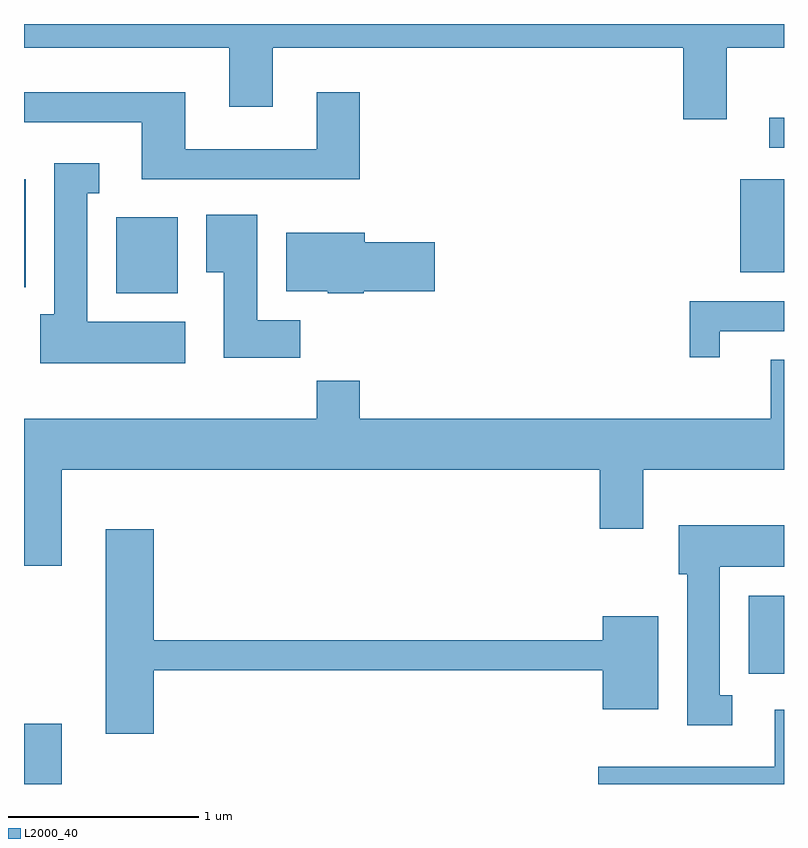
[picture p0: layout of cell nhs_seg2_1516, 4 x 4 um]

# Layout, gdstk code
import gdstk
lib = gdstk.Library(unit=1e-6, precision=1e-09)
def R(c, l, rs):  # rectangles x0, y0, x1, y1
    for r in rs: c.add(gdstk.rectangle(r[:2], r[2:], *l))
def P(c, l, *ps):  # polygons
    for p in ps: c.add(gdstk.Polygon(p, *l))
L2000_40 = (2000, 40)

nhs_seg2_1516 = lib.new_cell('nhs_seg2_1516')
R(nhs_seg2_1516, L2000_40, [(229.611,1017.802,229.809,1018.119), (233.426,1018.381,233.611,1018.794), (230.096,1020.386,230.419,1020.784), (229.611,1020.416,229.619,1020.984), (233.381,1020.496,233.611,1020.984), (233.533,1021.151,233.611,1021.309)])
P(nhs_seg2_1516, L2000_40, [(233.309,1021.676),(233.611,1021.676),(233.611,1021.802),(229.611,1021.802),(229.611,1021.676),(230.691,1021.676),(230.691,1021.366),(230.919,1021.366),(230.919,1021.676),(233.081,1021.676),(233.081,1021.301),(233.309,1021.301)],
  [(231.379,1021.444),(231.151,1021.444),(231.151,1021.144),(230.459,1021.144),(230.459,1021.444),(229.611,1021.444),(229.611,1021.286),(230.231,1021.286),(230.231,1020.986),(231.379,1020.986)],
  [(230.459,1020.234),(229.944,1020.234),(229.944,1020.911),(230.008,1020.911),(230.008,1021.069),(229.771,1021.069),(229.771,1020.274),(229.696,1020.274),(229.696,1020.016),(230.459,1020.016)],
  [(231.064,1020.244),(230.839,1020.244),(230.839,1020.799),(230.571,1020.799),(230.571,1020.496),(230.661,1020.496),(230.661,1020.046),(231.064,1020.046)],
  [(231.4,1020.396),(231.774,1020.396),(231.774,1020.654),(231.404,1020.654),(231.404,1020.704),(230.991,1020.704),(230.991,1020.396),(231.21,1020.396),(231.21,1020.386),(231.4,1020.386)],
  [(233.274,1020.186),(233.611,1020.186),(233.611,1020.344),(233.116,1020.344),(233.116,1020.048),(233.274,1020.048)],
  [(229.809,1019.456),(232.641,1019.456),(232.641,1019.146),(232.869,1019.146),(232.869,1019.456),(233.611,1019.456),(233.611,1020.034),(233.541,1020.034),(233.541,1019.724),(231.379,1019.724),(231.379,1019.924),(231.151,1019.924),(231.151,1019.724),(229.611,1019.724),(229.611,1018.951),(229.809,1018.951)],
  [(233.338,1018.269),(233.274,1018.269),(233.274,1018.946),(233.611,1018.946),(233.611,1019.164),(233.056,1019.164),(233.056,1018.906),(233.101,1018.906),(233.101,1018.111),(233.338,1018.111)],
  [(230.294,1018.401),(232.656,1018.401),(232.656,1018.196),(232.949,1018.196),(232.949,1018.684),(232.656,1018.684),(232.656,1018.559),(230.294,1018.559),(230.294,1019.144),(230.041,1019.144),(230.041,1018.066),(230.294,1018.066)],
  [(233.611,1018.194),(233.561,1018.194),(233.561,1017.894),(232.633,1017.894),(232.633,1017.802),(233.611,1017.802)])

lib.write_gds('nhs_seg2_1516.gds')
